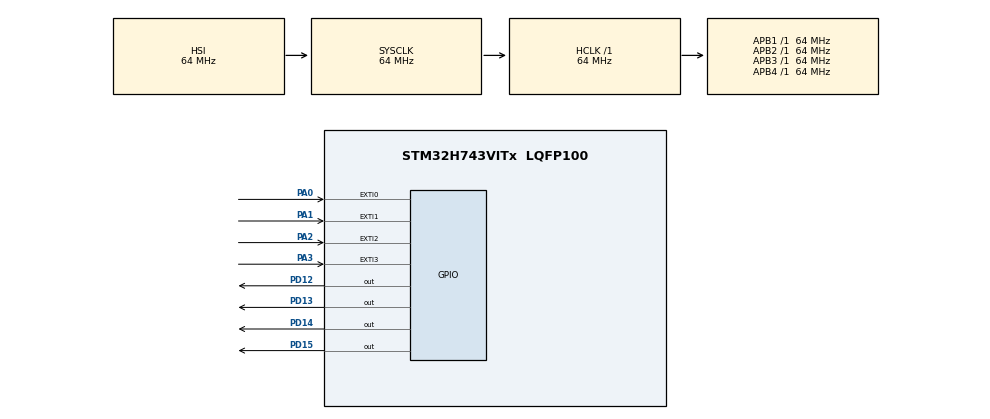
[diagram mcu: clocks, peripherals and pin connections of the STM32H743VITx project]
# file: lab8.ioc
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CORTEX_M7.default_mode_Activation=1
FREERTOS.Tasks01=defaultTask,0,128,StartDefaultTask,Default,NULL,Dynamic,NULL,NULL
Mcu.Family=STM32H7
Mcu.Name=STM32H743VITx
Mcu.Package=LQFP100
NVIC.EXTI0_IRQn=true\:5\:0\:false\:false\:true\:true\:true\:true\:true
NVIC.EXTI1_IRQn=true\:5\:0\:false\:false\:true\:true\:true\:true\:true
NVIC.EXTI2_IRQn=true\:5\:0\:false\:false\:true\:true\:true\:true\:true
NVIC.EXTI3_IRQn=true\:5\:0\:false\:false\:true\:true\:true\:true\:true
NVIC.PriorityGroup=NVIC_PRIORITYGROUP_4
NVIC.TIM6_DAC_IRQn=true\:15\:0\:false\:false\:true\:false\:false\:true\:true
NVIC.TimeBase=TIM6_DAC_IRQn
NVIC.TimeBaseIP=TIM6
PA0.Signal=GPXTI0
PA1.Signal=GPXTI1
PA2.Signal=GPXTI2
PA3.Signal=GPXTI3
PD12.Signal=GPIO_Output
PD13.Signal=GPIO_Output
PD14.Signal=GPIO_Output
PD15.Signal=GPIO_Output
ProjectManager.HeapSize=0x200
ProjectManager.StackSize=0x400
ProjectManager.TargetToolchain=STM32CubeIDE
RCC.ADCFreq_Value=129000000
RCC.APB1Freq_Value=64000000
RCC.APB2Freq_Value=64000000
RCC.APB3Freq_Value=64000000
RCC.APB4Freq_Value=64000000
RCC.CortexFreq_Value=64000000
RCC.HCLKFreq_Value=64000000
RCC.SYSCLKFreq_VALUE=64000000
RCC.USBFreq_Value=129000000
VP_FREERTOS_VS_CMSIS_V1.Mode=CMSIS_V1
VP_MEMORYMAP_VS_MEMORYMAP.Mode=CurAppReg
VP_SYS_VS_tim6.Mode=TIM6
board=custom

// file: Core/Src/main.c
/* USER CODE BEGIN Header */
/**
  ******************************************************************************
  * @file           : main.c
  * @brief          : Main program body
  ******************************************************************************
  * @attention
  *
  * Copyright (c) 2026 STMicroelectronics.
  * All rights reserved.
  *
  * This software is licensed under terms that can be found in the LICENSE file
  * in the root directory of this software component.
  * If no LICENSE file comes with this software, it is provided AS-IS.
  *
  ******************************************************************************
  */
/* USER CODE END Header */
#include "main.h"
#include "cmsis_os.h"

/* USER CODE BEGIN Includes */
#include "FreeRTOS.h"
#include "task.h"
#include "queue.h"
/* USER CODE END Includes */

osThreadId defaultTaskHandle;
/* USER CODE BEGIN PV */
// Створюємо глобальні хендлери для 4 черг
QueueHandle_t qLED1;
QueueHandle_t qLED2;
QueueHandle_t qLED3;
QueueHandle_t qLED4;
/* USER CODE END PV */

void SystemClock_Config(void);
static void MPU_Config(void);
static void MX_GPIO_Init(void);
void StartDefaultTask(void const * argument);

/* USER CODE BEGIN PFP */
// Прототипи функцій-потоків
void LedTask1(void *argument);
void LedTask2(void *argument);
void LedTask3(void *argument);
void LedTask4(void *argument);
/* USER CODE END PFP */

int main(void)
{

  /* MPU Configuration--------------------------------------------------------*/
  MPU_Config();

  /* MCU Configuration--------------------------------------------------------*/

  /* Reset of all peripherals, Initializes the Flash interface and the Systick. */
  HAL_Init();

  /* Configure the system clock */
  SystemClock_Config();

  /* Initialize all configured peripherals */
  MX_GPIO_Init();
  /* USER CODE BEGIN 2 */
  // 1. Створення черг (кожна вміщує 1 елемент типу uint32_t для Duty Cycle)
    qLED1 = xQueueCreate(1, sizeof(uint32_t));
    qLED2 = xQueueCreate(1, sizeof(uint32_t));
    qLED3 = xQueueCreate(1, sizeof(uint32_t));
    qLED4 = xQueueCreate(1, sizeof(uint32_t));

    // 2. Створення 4 незалежних потоків
    xTaskCreate(LedTask1, "LED1_1Hz",  128, NULL, 1, NULL);
    xTaskCreate(LedTask2, "LED2_2Hz",  128, NULL, 1, NULL);
    xTaskCreate(LedTask3, "LED3_5Hz",  128, NULL, 1, NULL);
    xTaskCreate(LedTask4, "LED4_10Hz", 128, NULL, 1, NULL);
    // 3. Запуск системи
    vTaskStartScheduler();
  /* USER CODE END 2 */

  /* Create the thread(s) */
  /* definition and creation of defaultTask */
  osThreadDef(defaultTask, StartDefaultTask, osPriorityNormal, 0, 128);
  defaultTaskHandle = osThreadCreate(osThread(defaultTask), NULL);

  /* Start scheduler */
  osKernelStart();

  /* We should never get here as control is now taken by the scheduler */

  /* Infinite loop */
  while (1)
  {

  }
}

void SystemClock_Config(void)
{
  RCC_OscInitTypeDef RCC_OscInitStruct = {0};
  RCC_ClkInitTypeDef RCC_ClkInitStruct = {0};

  /** Supply configuration update enable
  */
  HAL_PWREx_ConfigSupply(PWR_LDO_SUPPLY);

  /** Configure the main internal regulator output voltage
  */
  __HAL_PWR_VOLTAGESCALING_CONFIG(PWR_REGULATOR_VOLTAGE_SCALE3);

  while(!__HAL_PWR_GET_FLAG(PWR_FLAG_VOSRDY)) {}

  /** Initializes the RCC Oscillators according to the specified parameters
  * in the RCC_OscInitTypeDef structure.
  */
  RCC_OscInitStruct.OscillatorType = RCC_OSCILLATORTYPE_HSI;
  RCC_OscInitStruct.HSIState = RCC_HSI_DIV1;
  RCC_OscInitStruct.HSICalibrationValue = RCC_HSICALIBRATION_DEFAULT;
  RCC_OscInitStruct.PLL.PLLState = RCC_PLL_NONE;
  if (HAL_RCC_OscConfig(&RCC_OscInitStruct) != HAL_OK)
  {
    Error_Handler();
  }

  /** Initializes the CPU, AHB and APB buses clocks
  */
  RCC_ClkInitStruct.ClockType = RCC_CLOCKTYPE_HCLK|RCC_CLOCKTYPE_SYSCLK
                              |RCC_CLOCKTYPE_PCLK1|RCC_CLOCKTYPE_PCLK2
                              |RCC_CLOCKTYPE_D3PCLK1|RCC_CLOCKTYPE_D1PCLK1;
  RCC_ClkInitStruct.SYSCLKSource = RCC_SYSCLKSOURCE_HSI;
  RCC_ClkInitStruct.SYSCLKDivider = RCC_SYSCLK_DIV1;
  RCC_ClkInitStruct.AHBCLKDivider = RCC_HCLK_DIV1;
  RCC_ClkInitStruct.APB3CLKDivider = RCC_APB3_DIV1;
  RCC_ClkInitStruct.APB1CLKDivider = RCC_APB1_DIV1;
  RCC_ClkInitStruct.APB2CLKDivider = RCC_APB2_DIV1;
  RCC_ClkInitStruct.APB4CLKDivider = RCC_APB4_DIV1;

  if (HAL_RCC_ClockConfig(&RCC_ClkInitStruct, FLASH_LATENCY_1) != HAL_OK)
  {
    Error_Handler();
  }
}

static void MX_GPIO_Init(void)
{
  GPIO_InitTypeDef GPIO_InitStruct = {0};

  /* GPIO Ports Clock Enable */
  __HAL_RCC_GPIOA_CLK_ENABLE();
  __HAL_RCC_GPIOD_CLK_ENABLE();

  /*Configure GPIO pin Output Level */
  HAL_GPIO_WritePin(GPIOD, GPIO_PIN_12|GPIO_PIN_13|GPIO_PIN_14|GPIO_PIN_15, GPIO_PIN_RESET);

  /*Configure GPIO pins : PA0 PA1 PA2 PA3 */
  GPIO_InitStruct.Pin = GPIO_PIN_0|GPIO_PIN_1|GPIO_PIN_2|GPIO_PIN_3;
  GPIO_InitStruct.Mode = GPIO_MODE_IT_RISING;
  GPIO_InitStruct.Pull = GPIO_PULLDOWN;
  HAL_GPIO_Init(GPIOA, &GPIO_InitStruct);

  /*Configure GPIO pins : PD12 PD13 PD14 PD15 */
  GPIO_InitStruct.Pin = GPIO_PIN_12|GPIO_PIN_13|GPIO_PIN_14|GPIO_PIN_15;
  GPIO_InitStruct.Mode = GPIO_MODE_OUTPUT_PP;
  GPIO_InitStruct.Pull = GPIO_NOPULL;
  GPIO_InitStruct.Speed = GPIO_SPEED_FREQ_LOW;
  HAL_GPIO_Init(GPIOD, &GPIO_InitStruct);

  /* EXTI interrupt init*/
  HAL_NVIC_SetPriority(EXTI0_IRQn, 5, 0);
  HAL_NVIC_EnableIRQ(EXTI0_IRQn);

  HAL_NVIC_SetPriority(EXTI1_IRQn, 5, 0);
  HAL_NVIC_EnableIRQ(EXTI1_IRQn);

  HAL_NVIC_SetPriority(EXTI2_IRQn, 5, 0);
  HAL_NVIC_EnableIRQ(EXTI2_IRQn);

  HAL_NVIC_SetPriority(EXTI3_IRQn, 5, 0);
  HAL_NVIC_EnableIRQ(EXTI3_IRQn);

}

/* USER CODE BEGIN 4 */
// ================= ОБРОБНИК ПЕРИРИВАНЬ ВІД КНОПОК =================
void HAL_GPIO_EXTI_Callback(uint16_t GPIO_Pin)
{
    // Прапорець для перемикання контексту, якщо розбудили потік із вищим пріоритетом
    BaseType_t xHigherPriorityTaskWoken = pdFALSE;

    // Статичні змінні для збереження поточного Duty Cycle (старт з 50%)
    static uint32_t duty1 = 50, duty2 = 50, duty3 = 50, duty4 = 50;

    // Кнопка 1 (PA0) керує LED1
    if (GPIO_Pin == GPIO_PIN_0) {
        duty1 = (duty1 >= 90) ? 10 : (duty1 + 40); // Цикл: 10% -> 50% -> 90%
        xQueueSendFromISR(qLED1, &duty1, &xHigherPriorityTaskWoken);
    }
    // Кнопка 2 (PA1) керує LED2
    else if (GPIO_Pin == GPIO_PIN_1) {
        duty2 = (duty2 >= 90) ? 10 : (duty2 + 40);
        xQueueSendFromISR(qLED2, &duty2, &xHigherPriorityTaskWoken);
    }
    // Кнопка 3 (PA2) керує LED3
    else if (GPIO_Pin == GPIO_PIN_2) {
        duty3 = (duty3 >= 90) ? 10 : (duty3 + 40);
        xQueueSendFromISR(qLED3, &duty3, &xHigherPriorityTaskWoken);
    }
    // Кнопка 4 (PA3) керує LED4
    else if (GPIO_Pin == GPIO_PIN_3) {
        duty4 = (duty4 >= 90) ? 10 : (duty4 + 40);
        xQueueSendFromISR(qLED4, &duty4, &xHigherPriorityTaskWoken);
    }

    // Примусове перемикання задач, якщо це необхідно
    portYIELD_FROM_ISR(xHigherPriorityTaskWoken);
}

// ================= ПОТОКИ СВІТЛОДІОДІВ =================

// Потік 1: PD12 (1 Гц -> Період 1000 мс)
void LedTask1(void *argument) {
  uint32_t period = 1000;
  uint32_t duty = 50; // Стартові 50%

  for (;;) {
    // Перевіряємо чергу. Час очікування 0 (не блокуємо потік)
    xQueueReceive(qLED1, &duty, 0);

    uint32_t pulse = (period * duty) / 100;
    uint32_t pause = period - pulse;

    HAL_GPIO_WritePin(GPIOD, GPIO_PIN_12, GPIO_PIN_SET);
    vTaskDelay(pulse / portTICK_PERIOD_MS);
    HAL_GPIO_WritePin(GPIOD, GPIO_PIN_12, GPIO_PIN_RESET);
    vTaskDelay(pause / portTICK_PERIOD_MS);
  }
}

// Потік 2: PD13 (2 Гц -> Період 500 мс)
void LedTask2(void *argument) {
  uint32_t period = 500;
  uint32_t duty = 50;

  for (;;) {
    xQueueReceive(qLED2, &duty, 0);
    uint32_t pulse = (period * duty) / 100;

    HAL_GPIO_WritePin(GPIOD, GPIO_PIN_13, GPIO_PIN_SET);
    vTaskDelay(pulse / portTICK_PERIOD_MS);
    HAL_GPIO_WritePin(GPIOD, GPIO_PIN_13, GPIO_PIN_RESET);
    vTaskDelay((period - pulse) / portTICK_PERIOD_MS);
  }
}

// Потік 3: PD14 (5 Гц -> Період 200 мс)
void LedTask3(void *argument) {
  uint32_t period = 200;
  uint32_t duty = 50;

  for (;;) {
    xQueueReceive(qLED3, &duty, 0);
    uint32_t pulse = (period * duty) / 100;

    HAL_GPIO_WritePin(GPIOD, GPIO_PIN_14, GPIO_PIN_SET);
    vTaskDelay(pulse / portTICK_PERIOD_MS);
    HAL_GPIO_WritePin(GPIOD, GPIO_PIN_14, GPIO_PIN_RESET);
    vTaskDelay((period - pulse) / portTICK_PERIOD_MS);
  }
}

// Потік 4: PD15 (10 Гц -> Період 100 мс)
void LedTask4(void *argument) {
  uint32_t period = 100;
  uint32_t duty = 50;

  for (;;) {
    xQueueReceive(qLED4, &duty, 0);
    uint32_t pulse = (period * duty) / 100;

    HAL_GPIO_WritePin(GPIOD, GPIO_PIN_15, GPIO_PIN_SET);
    vTaskDelay(pulse / portTICK_PERIOD_MS);
    HAL_GPIO_WritePin(GPIOD, GPIO_PIN_15, GPIO_PIN_RESET);
    vTaskDelay((period - pulse) / portTICK_PERIOD_MS);
  }
}
/* USER CODE END 4 */

void StartDefaultTask(void const * argument)
{
  for(;;)
  {
    osDelay(1);
  }
}

 /* MPU Configuration */

void MPU_Config(void)
{
  MPU_Region_InitTypeDef MPU_InitStruct = {0};

  /* Disables the MPU */
  HAL_MPU_Disable();

  /** Initializes and configures the Region and the memory to be protected
  */
  MPU_InitStruct.Enable = MPU_REGION_ENABLE;
  MPU_InitStruct.Number = MPU_REGION_NUMBER0;
  MPU_InitStruct.BaseAddress = 0x0;
  MPU_InitStruct.Size = MPU_REGION_SIZE_4GB;
  MPU_InitStruct.SubRegionDisable = 0x87;
  MPU_InitStruct.TypeExtField = MPU_TEX_LEVEL0;
  MPU_InitStruct.AccessPermission = MPU_REGION_NO_ACCESS;
  MPU_InitStruct.DisableExec = MPU_INSTRUCTION_ACCESS_DISABLE;
  MPU_InitStruct.IsShareable = MPU_ACCESS_SHAREABLE;
  MPU_InitStruct.IsCacheable = MPU_ACCESS_NOT_CACHEABLE;
  MPU_InitStruct.IsBufferable = MPU_ACCESS_NOT_BUFFERABLE;

  HAL_MPU_ConfigRegion(&MPU_InitStruct);
  /* Enables the MPU */
  HAL_MPU_Enable(MPU_PRIVILEGED_DEFAULT);

}

void HAL_TIM_PeriodElapsedCallback(TIM_HandleTypeDef *htim)
{
  if (htim->Instance == TIM6)
  {
    HAL_IncTick();
  }
}

void Error_Handler(void)
{
  __disable_irq();
  while (1)
  {
  }
}
